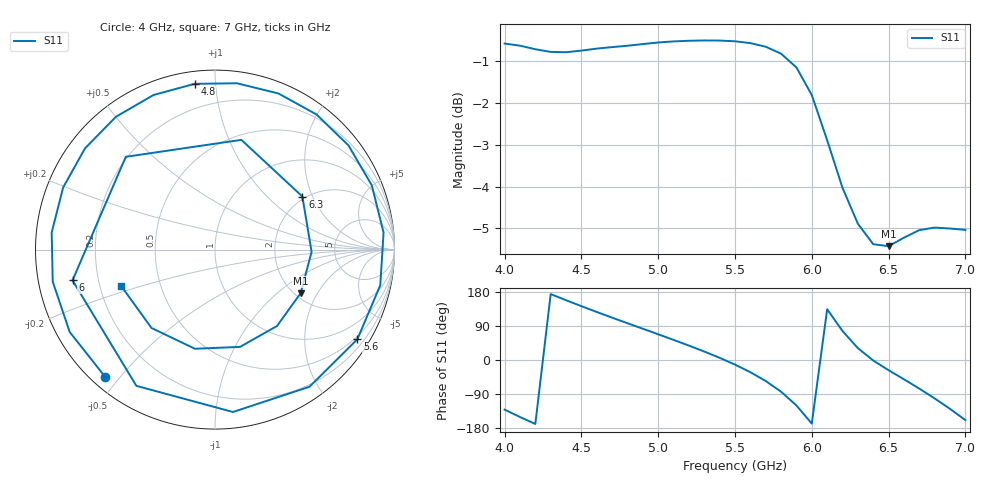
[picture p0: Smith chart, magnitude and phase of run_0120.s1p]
! Touchstone file exported from HFSS 2024.2.0
!  File:  C:/Users/wsak9/Desktop/Sim Fast/Widenad Patch/WP_AI_V1_sweep.aedt
!  Generated:  07:55:13 PM Oct 13, 2026
!  Design:  A1_model
!  Project:  WP_AI_V1_sweep
!  Setup:  Setup1
!  Solution:  Sweep
! Variables:
!  Air_gap = 3.02mm
!  Curve_Amp1 = 1.76
!  Curve_len1 = 1
!  Curve_pos = 9.595mm
!  Extra = 7.02mm
!  H_sub = 0.79mm
!  L_Patch = 15.19mm
!  L_Patch1 = 23.14mm
!  Sx = 2.21mm
!  Sy = 4.27mm
!  WS = 1.09mm
!  W_Patch = 11.02mm
!  W_Patch1 = 16.12mm
!Data is not renormalized
# GHz S MA
! Terminal data exported
! Port[1] = 1
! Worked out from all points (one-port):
!   31 points, 4 GHz to 7 GHz, reference per port
!   lowest |S11| = -5.4 dB at 6.5 GHz (marker M1), VSWR 3.31
!   |S11| at or under -10 dB: nowhere
!   S11 on the Smith chart (normalised r, x): 4 GHz: 0.04, -0.46; 4.8 GHz: 0.06, +0.88; 5.6 GHz: 0.42, -3.42; 6 GHz: 0.10, -0.11; 6.3 GHz: 1.93, +1.69; 7 GHz: 0.29, -0.17
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4  0.9361 -130.9
4.1  0.9307 -150.5
4.2  0.9216 -168.8
4.3  0.9148 174.0
4.4  0.914 157.8
4.6  0.9232 126.7
4.8  0.9305 97.0
4.9  0.9348 82.5
5  0.9389 67.9
5.2  0.9433 38.0
5.3  0.9442 22.3
5.4  0.9439 5.7
5.5  0.942 -12.2
5.6  0.9373 -32.2
5.7  0.9279 -55.4
5.8  0.9103 -83.7
5.9  0.8764 -120.0
6  0.8122 -167.8
6.1  0.7171 133.9
6.2  0.6289 76.5
6.3  0.5696 31.3
6.4  0.5384 -1.3
6.5  0.5354 -27.0
6.6  0.5482 -50.9
6.7  0.5596 -75.5
6.8  0.5636 -101.4
6.9  0.5621 -129.0
7  0.5601 -158.6
